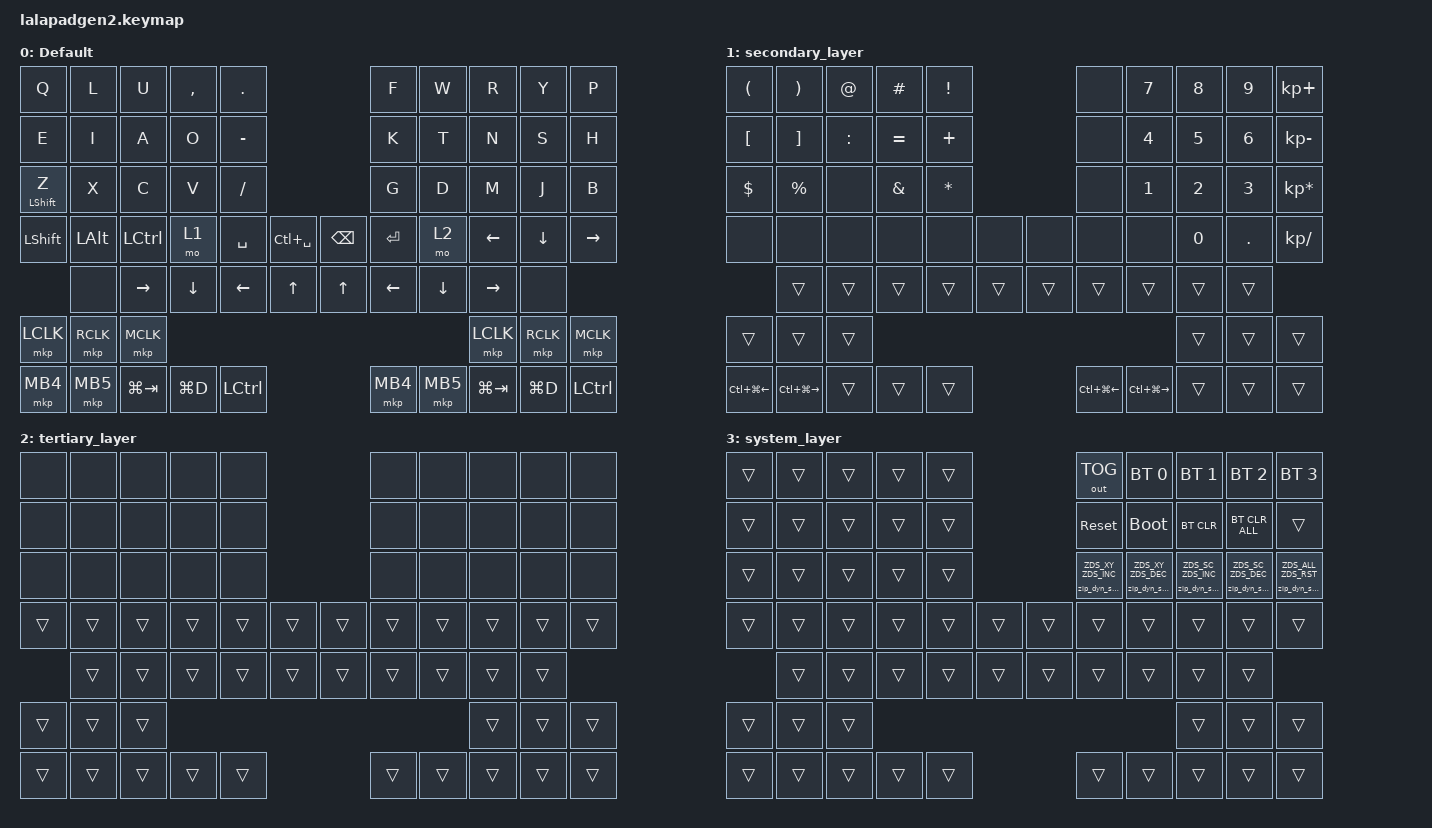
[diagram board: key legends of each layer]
#include <input/processors.dtsi>
#include <dt-bindings/zmk/zip_dynamic_scale.h>
#include <behaviors.dtsi>
#include <dt-bindings/zmk/bt.h>
#include <dt-bindings/zmk/keys.h>
#include <dt-bindings/zmk/outputs.h>
#include <dt-bindings/zmk/pointing.h>

#define DEFAULT_LAYER   0
#define SECONDARY_LAYER 1
#define TERTIARY_LAYER  2
#define SYSTEM_LAYER    3

&mt { quick-tap-ms = <200>; };

&lt { quick-tap-ms = <200>; };

/ {
    behaviors {
        zip_dyn_scale: zip_dyn_scale {
            compatible = "zmk,behavior-zip-dynamic-scale";
            #binding-cells = <2>;
        };

        zip_dyn_scale_set: zip_dyn_scale_set {
            compatible = "zmk,behavior-zip-dynamic-scale-set";
            #binding-cells = <2>;
        };

        mt2: mod_tap2 {
            compatible = "zmk,behavior-hold-tap";
            #binding-cells = <2>;
            flavor = "tap-preferred";
            tapping-term-ms = <200>;
            quick-tap-ms = <200>;
            require-prior-idle-ms = <125>;
            bindings = <&kp>, <&kp>;
        };

        tap_dance_layer_1and2: tap_dance_layer_1and2 {
            compatible = "zmk,behavior-tap-dance";
            label = "td_mo12";
            #binding-cells = <0>;
            bindings = <&mo 1>, <&mo 2>;
        };
    };

    combos {
        compatible = "zmk,combos";

        CONBO_ESC {
            bindings = <&kp ESCAPE>;
            key-positions = <0 1>;
        };

        COMBO_TAB {
            bindings = <&kp TAB>;
            key-positions = <10 11>;
        };

        COMBO_UP_L {
            bindings = <&kp UP_ARROW>;
            key-positions = <39 40>;
        };

        COMBO_AQUA {
            bindings = <&kp LA(LC(F12))>;
            key-positions = <12 13>;
        };

        COMBO_UP {
            bindings = <&kp UP_ARROW>;
            key-positions = <6 7>;
        };

        COMBO_LEFT {
            bindings = <&kp LEFT_ARROW>;
            key-positions = <15 16>;
        };

        COMBO_UP_R {
            bindings = <&kp UP_ARROW>;
            key-positions = <40 41>;
        };

        COMBO_RIGHT {
            bindings = <&kp RIGHT_ARROW>;
            key-positions = <17 18>;
        };

        COMBO_DOWN {
            bindings = <&kp DOWN_ARROW>;
            key-positions = <16 17>;
        };
    };

    keymap {
        compatible = "zmk,keymap";

        DEFAULT_LAYER {
            display-name = "Default";
            bindings = <
&kp Q              &kp L         &kp U        &kp COMMA  &kp PERIOD                                &kp F      &kp W     &kp R           &kp Y           &kp P
&kp E              &kp I         &kp A        &kp O      &kp MINUS                                 &kp K      &kp T     &kp N           &kp S           &kp H
&mt2 LEFT_SHIFT Z  &kp X         &kp C        &kp V      &kp SLASH                                 &kp G      &kp D     &kp M           &kp J           &kp B
&kp LSHFT          &kp LEFT_ALT  &kp LCTRL    &mo 1      &kp SPACE   &kp LC(SPACE)  &kp BACKSPACE  &kp ENTER  &mo 2     &kp LEFT_ARROW  &kp DOWN_ARROW  &kp RIGHT_ARROW
                   &none         &kp RIGHT    &kp DOWN   &kp LEFT    &kp UP         &kp UP         &kp LEFT   &kp DOWN  &kp RIGHT       &none
&mkp LCLK          &mkp RCLK     &mkp MCLK                                                                              &mkp LCLK       &mkp RCLK       &mkp MCLK
&mkp MB4           &mkp MB5      &kp LG(TAB)  &kp LG(D)  &kp LCTRL                                 &mkp MB4   &mkp MB5  &kp LG(TAB)     &kp LG(D)       &kp LCTRL
            >;
        };

        SECONDARY_LAYER {
            display-name = "secondary_layer";
            bindings = <
&kp LEFT_PARENTHESIS  &kp RIGHT_PARENTHESIS  &kp AT_SIGN  &kp HASH       &kp EXCLAMATION                  &none             &kp N7             &kp NUMBER_8  &kp NUMBER_9  &kp KP_PLUS
&kp LEFT_BRACKET      &kp RIGHT_BRACKET      &kp COLON    &kp EQUAL      &kp PLUS                         &none             &kp NUMBER_4       &kp NUMBER_5  &kp NUMBER_6  &kp KP_MINUS
&kp DOLLAR            &kp PERCENT            &none        &kp AMPERSAND  &kp ASTERISK                     &none             &kp NUMBER_1       &kp NUMBER_2  &kp NUMBER_3  &kp KP_ASTERISK
&none                 &none                  &none        &none          &none            &none   &none   &none             &none              &kp N0        &kp DOT       &kp KP_DIVIDE
                      &trans                 &trans       &trans         &trans           &trans  &trans  &trans            &trans             &trans        &trans
&trans                &trans                 &trans                                                                                            &trans        &trans        &trans
&kp LC(LG(LEFT))      &kp LC(LG(RIGHT))      &trans       &trans         &trans                           &kp LC(LG(LEFT))  &kp LC(LG(RIGHT))  &trans        &trans        &trans
            >;
        };

        TERTIARY_LAYER {
            display-name = "tertiary_layer";
            bindings = <
&none   &none   &none   &none   &none                   &none   &none   &none   &none   &none
&none   &none   &none   &none   &none                   &none   &none   &none   &none   &none
&none   &none   &none   &none   &none                   &none   &none   &none   &none   &none
&trans  &trans  &trans  &trans  &trans  &trans  &trans  &trans  &trans  &trans  &trans  &trans
        &trans  &trans  &trans  &trans  &trans  &trans  &trans  &trans  &trans  &trans
&trans  &trans  &trans                                                  &trans  &trans  &trans
&trans  &trans  &trans  &trans  &trans                  &trans  &trans  &trans  &trans  &trans
            >;
        };

        SYSTEM_LAYER {
            display-name = "system_layer";
            bindings = <
&trans  &trans  &trans  &trans  &trans                  &out OUT_TOG                   &bt BT_SEL 0                   &bt BT_SEL 1                   &bt BT_SEL 2                   &bt BT_SEL 3
&trans  &trans  &trans  &trans  &trans                  &sys_reset                     &bootloader                    &bt BT_CLR                     &bt BT_CLR_ALL                 &trans
&trans  &trans  &trans  &trans  &trans                  &zip_dyn_scale ZDS_XY ZDS_INC  &zip_dyn_scale ZDS_XY ZDS_DEC  &zip_dyn_scale ZDS_SC ZDS_INC  &zip_dyn_scale ZDS_SC ZDS_DEC  &zip_dyn_scale ZDS_ALL ZDS_RST
&trans  &trans  &trans  &trans  &trans  &trans  &trans  &trans                         &trans                         &trans                         &trans                         &trans
        &trans  &trans  &trans  &trans  &trans  &trans  &trans                         &trans                         &trans                         &trans
&trans  &trans  &trans                                                                                                &trans                         &trans                         &trans
&trans  &trans  &trans  &trans  &trans                  &trans                         &trans                         &trans                         &trans                         &trans
            >;
        };
    };

    conditional_layers {
        compatible = "zmk,conditional-layers";

        Cond_Syslayer {
            if-layers = <1 2>;
            then-layer = <3>;
        };
    };
};
